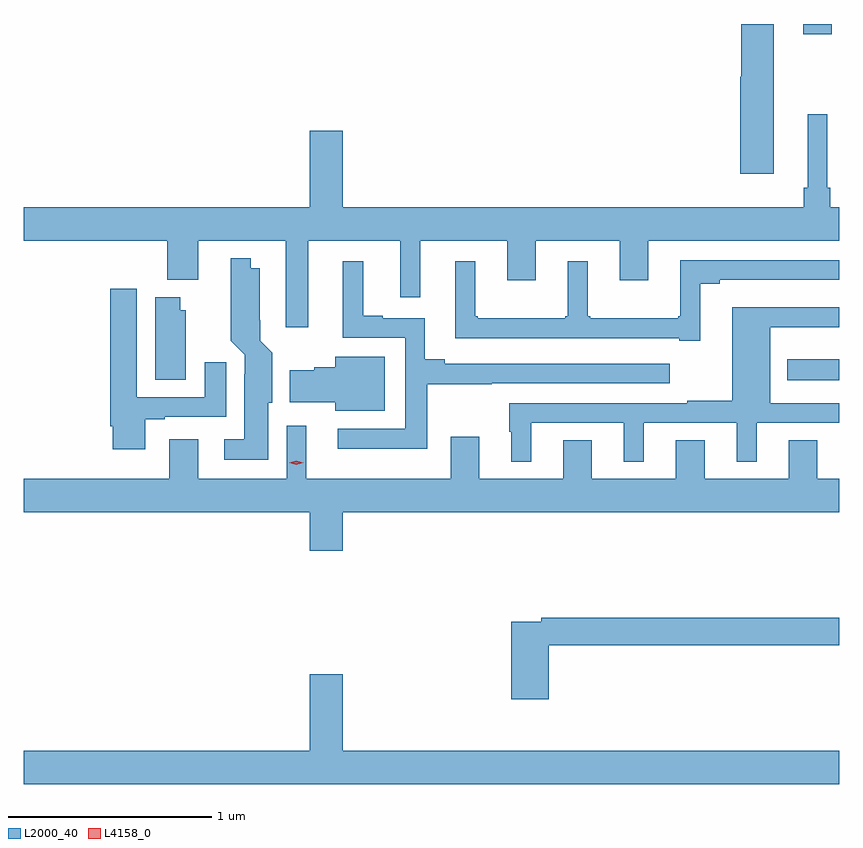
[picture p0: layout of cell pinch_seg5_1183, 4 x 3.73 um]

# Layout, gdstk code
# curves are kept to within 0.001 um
import gdstk
lib = gdstk.Library(unit=1e-6, precision=1e-09)
def R(c, l, rs):  # rectangles x0, y0, x1, y1
    for r in rs: c.add(gdstk.rectangle(r[:2], r[2:], *l))
def P(c, l, *ps):  # polygons
    for p in ps: c.add(gdstk.Polygon(p, *l))
L2000_40 = (2000, 40)
L4158_0 = (4158, 0)

pinch_seg5_1183 = lib.new_cell('pinch_seg5_1183')
R(pinch_seg5_1183, L2000_40, [(574.943,894.704,575.198,894.808), (575.021,896.4,575.161,896.451)])
P(pinch_seg5_1183, L2000_40, [(574.876,896.451),(574.718,896.451),(574.718,896.193),(574.712,896.193),(574.712,895.716),(574.876,895.716)],
  [(572.593,895.388),(573.044,895.388),(573.044,895.11),(573.142,895.11),(573.142,895.388),(573.569,895.388),(573.569,895.194),(573.709,895.194),(573.709,895.388),(574.121,895.388),(574.121,895.194),(574.261,895.194),(574.261,895.388),(575.198,895.388),(575.198,895.552),(575.153,895.552),(575.153,895.648),(575.139,895.648),(575.139,896.008),(575.042,896.008),(575.042,895.648),(575.023,895.648),(575.023,895.552),(572.764,895.552),(572.764,895.927),(572.6,895.927),(572.6,895.552),(571.198,895.552),(571.198,895.388),(571.901,895.388),(571.901,895.196),(572.053,895.196),(572.053,895.388),(572.483,895.388),(572.483,894.963),(572.593,894.963)],
  [(572.398,894.594),(572.416,894.594),(572.416,894.839),(572.357,894.898),(572.356,895.252),(572.311,895.252),(572.311,895.303),(572.214,895.303),(572.213,894.898),(572.283,894.828),(572.283,894.734),(572.279,894.734),(572.279,894.415),(572.181,894.415),(572.181,894.314),(572.398,894.314)],
  [(574.516,895.177),(574.612,895.177),(574.612,895.196),(575.198,895.196),(575.198,895.293),(574.418,895.293),(574.418,895.018),(574.407,895.018),(574.407,895.007),(573.976,895.007),(573.976,895.018),(573.964,895.018),(573.964,895.288),(573.866,895.288),(573.866,895.018),(573.855,895.018),(573.855,895.007),(573.424,895.007),(573.424,895.018),(573.412,895.018),(573.412,895.288),(573.314,895.288),(573.314,894.909),(574.412,894.909),(574.412,894.897),(574.516,894.897)],
  [(573.178,894.685),(573.494,894.685),(573.494,894.69),(574.366,894.69),(574.366,894.786),(573.262,894.786),(573.262,894.806),(573.166,894.806),(573.166,895.008),(572.959,895.008),(572.959,895.021),(572.863,895.021),(572.863,895.288),(572.762,895.288),(572.762,894.912),(573.069,894.912),(573.069,894.465),(572.739,894.465),(572.739,894.368),(573.178,894.368)],
  [(571.795,894.513),(571.891,894.513),(571.891,894.525),(572.191,894.525),(572.191,894.793),(572.087,894.793),(572.087,894.621),(571.753,894.621),(571.753,895.153),(571.622,895.153),(571.622,894.478),(571.634,894.478),(571.634,894.366),(571.795,894.366)],
  [(571.993,895.047),(571.966,895.047),(571.966,895.111),(571.844,895.111),(571.844,894.706),(571.993,894.706)],
  [(573.688,894.495),(574.142,894.495),(574.142,894.305),(574.24,894.305),(574.24,894.495),(574.694,894.495),(574.694,894.305),(574.792,894.305),(574.792,894.495),(575.198,894.495),(575.198,894.591),(574.858,894.591),(574.858,894.965),(575.198,894.965),(575.198,895.063),(574.673,895.063),(574.673,894.604),(574.453,894.604),(574.453,894.591),(573.579,894.591),(573.579,894.452),(573.59,894.452),(573.59,894.305),(573.688,894.305)],
  [(572.968,894.82),(572.726,894.82),(572.726,894.767),(572.622,894.767),(572.622,894.754),(572.502,894.754),(572.502,894.596),(572.726,894.596),(572.726,894.554),(572.968,894.554)],
  [(572.764,894.056),(575.198,894.056),(575.198,894.22),(575.089,894.22),(575.089,894.41),(574.949,894.41),(574.949,894.22),(574.537,894.22),(574.537,894.41),(574.397,894.41),(574.397,894.22),(573.985,894.22),(573.985,894.41),(573.845,894.41),(573.845,894.22),(573.433,894.22),(573.433,894.427),(573.293,894.427),(573.293,894.22),(572.584,894.22),(572.584,894.481),(572.487,894.481),(572.487,894.22),(572.053,894.22),(572.053,894.415),(571.913,894.415),(571.913,894.22),(571.198,894.22),(571.198,894.056),(572.6,894.056),(572.6,893.868),(572.764,893.868)],
  [(573.773,893.404),(575.198,893.404),(575.198,893.54),(573.736,893.54),(573.736,893.52),(573.59,893.52),(573.59,893.139),(573.773,893.139)],
  [(575.198,892.888),(572.764,892.888),(572.764,893.263),(572.6,893.263),(572.6,892.888),(571.198,892.888),(571.198,892.724),(575.198,892.724)])
P(pinch_seg5_1183, L4158_0, [(572.535,894.29),(572.5,894.3),(572.5,894.3),(572.5,894.3),(572.535,894.31),(572.57,894.3),(572.57,894.3),(572.57,894.3)])

lib.write_gds('pinch_seg5_1183.gds')
